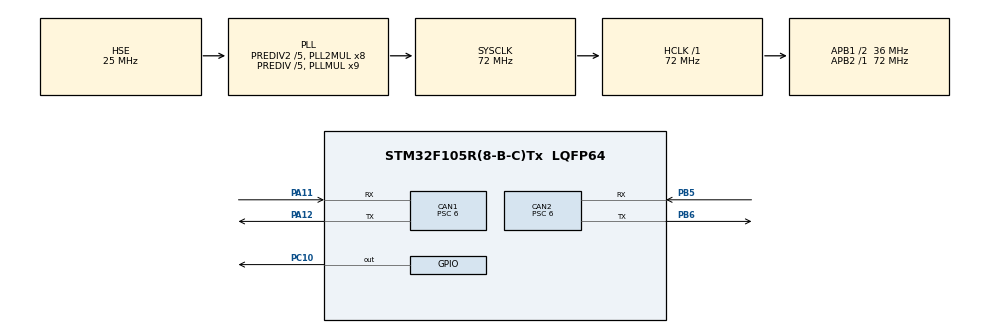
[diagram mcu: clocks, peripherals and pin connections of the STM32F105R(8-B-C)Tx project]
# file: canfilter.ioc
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CAN1.BS1=CAN_BS1_8TQ
CAN1.BS2=CAN_BS2_3TQ
CAN1.CalculateTimeBit=2000
CAN1.CalculateTimeQuantum=166.66666666666669
CAN1.Prescaler=6
CAN2.BS1=CAN_BS1_8TQ
CAN2.BS2=CAN_BS2_3TQ
CAN2.CalculateTimeBit=2000
CAN2.CalculateTimeQuantum=166.66666666666669
CAN2.Prescaler=6
Mcu.Family=STM32F1
Mcu.Name=STM32F105R(8-B-C)Tx
Mcu.Package=LQFP64
NVIC.CAN1_RX0_IRQn=true\:0\:0\:false\:false\:true\:true\:true
NVIC.CAN2_RX1_IRQn=true\:0\:0\:false\:false\:true\:true\:true
NVIC.PriorityGroup=NVIC_PRIORITYGROUP_0
PA11.Mode=Master
PA11.Signal=CAN1_RX
PA12.Mode=Master
PA12.Signal=CAN1_TX
PA13.Mode=Serial_Wire
PA13.Signal=SYS_JTMS-SWDIO
PA14.Mode=Serial_Wire
PA14.Signal=SYS_JTCK-SWCLK
PB5.Mode=Slave
PB5.Signal=CAN2_RX
PB6.Mode=Slave
PB6.Signal=CAN2_TX
PC10.PinState=GPIO_PIN_SET
PC10.Signal=GPIO_Output
PD0-OSC_IN.Mode=HSE-External-Oscillator
PD0-OSC_IN.Signal=RCC_OSC_IN
PD1-OSC_OUT.Mode=HSE-External-Oscillator
PD1-OSC_OUT.Signal=RCC_OSC_OUT
ProjectManager.HeapSize=0x200
ProjectManager.StackSize=0x400
ProjectManager.TargetToolchain=STM32CubeIDE
RCC.AHBFreq_Value=72000000
RCC.APB1CLKDivider=RCC_HCLK_DIV2
RCC.APB1Freq_Value=36000000
RCC.APB1TimFreq_Value=72000000
RCC.APB2Freq_Value=72000000
RCC.APB2TimFreq_Value=72000000
RCC.HCLKFreq_Value=72000000
RCC.HSEDivPLL=RCC_HSE_PREDIV_DIV5
RCC.HSE_VALUE=25000000
RCC.PLLMUL=RCC_PLL_MUL9
RCC.PLLSourceVirtual=RCC_PLLSOURCE_HSE
RCC.Prediv1Source=RCC_PREDIV1_SOURCE_PLL2
RCC.Prediv2=RCC_HSE_PREDIV2_DIV5
RCC.SYSCLKFreq_VALUE=72000000
RCC.SYSCLKSource=RCC_SYSCLKSOURCE_PLLCLK
RCC.USBFreq_Value=48000000
board=custom

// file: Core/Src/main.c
/* USER CODE BEGIN Header */
/**
 ******************************************************************************
 * @file           : main.c
 * @brief          : Main program body
 ******************************************************************************
 * @attention
 *
 * <h2><center>&copy; Copyright (c) 2020 STMicroelectronics.
 * All rights reserved.</center></h2>
 *
 * This software component is licensed by ST under BSD 3-Clause license,
 * the "License"; You may not use this file except in compliance with the
 * License. You may obtain a copy of the License at:
 *                        opensource.org/licenses/BSD-3-Clause
 *
 ******************************************************************************
 */
/* USER CODE END Header */

#include "main.h"

/* USER CODE BEGIN Includes */
#include <string.h>
#include "canfilter.h"
/* USER CODE END Includes */

CAN_HandleTypeDef hcan1;
CAN_HandleTypeDef hcan2;

void SystemClock_Config(void);
static void MX_GPIO_Init(void);
static void MX_CAN1_Init(void);
static void MX_CAN2_Init(void);

/* USER CODE BEGIN 0 */
void transferCan(CAN_HandleTypeDef *hcan) {
	CAN_HandleTypeDef *targetCan;
	uint32_t fifo;
	if (hcan->Instance == CAN2) {
		targetCan = &hcan1;
		fifo = CAN_RX_FIFO1;
	} else {
		targetCan = &hcan2;
		fifo = CAN_RX_FIFO0;
	}
	if (HAL_CAN_GetRxMessage(hcan, fifo, &RxHeader, RxData) != HAL_OK) {
		/* Reception Error */
		Error_Handler();
	}
	copyData();
	if (HAL_CAN_GetTxMailboxesFreeLevel(targetCan) != 0) {
		if (HAL_CAN_AddTxMessage(targetCan, &TxHeader, TxData, &TxMailbox)
				!= HAL_OK) {
			/* Transmission request Error */
			HAL_CAN_ResetError(targetCan);
			//Error_Handler();
		}
	}

}
void HAL_CAN_RxFifo0MsgPendingCallback(CAN_HandleTypeDef *hcan)

{
	transferCan(hcan);
}

void HAL_CAN_RxFifo1MsgPendingCallback(CAN_HandleTypeDef *hcan)

{
	transferCan(hcan);
}

/* USER CODE END 0 */

int main(void) {

	/* MCU Configuration--------------------------------------------------------*/

	/* Reset of all peripherals, Initializes the Flash interface and the Systick. */
	HAL_Init();

	/* Configure the system clock */
	SystemClock_Config();

	/* Initialize all configured peripherals */
	MX_GPIO_Init();
	MX_CAN1_Init();
	MX_CAN2_Init();
	/* USER CODE BEGIN 2 */

	sFilterConfig1.FilterBank = 0;
	sFilterConfig1.FilterMode = CAN_FILTERMODE_IDMASK;
	sFilterConfig1.FilterScale = CAN_FILTERSCALE_32BIT;
	sFilterConfig1.FilterIdHigh = 0x0000;
	sFilterConfig1.FilterIdLow = 0x0000;
	sFilterConfig1.FilterMaskIdHigh = 0x0000;
	sFilterConfig1.FilterMaskIdLow = 0x0000;
	sFilterConfig1.FilterFIFOAssignment = CAN_RX_FIFO0;
	sFilterConfig1.FilterActivation = ENABLE;
	sFilterConfig1.SlaveStartFilterBank = 14;
	HAL_CAN_ConfigFilter(&hcan1, &sFilterConfig1);

	sFilterConfig2.FilterBank = 14;
	sFilterConfig2.FilterMode = CAN_FILTERMODE_IDMASK;
	sFilterConfig2.FilterScale = CAN_FILTERSCALE_32BIT;
	sFilterConfig2.FilterIdHigh = 0x0000;
	sFilterConfig2.FilterIdLow = 0x0000;
	sFilterConfig2.FilterMaskIdHigh = 0x0000;
	sFilterConfig2.FilterMaskIdLow = 0x0000;
	sFilterConfig2.FilterFIFOAssignment = CAN_RX_FIFO1;
	sFilterConfig2.FilterActivation = ENABLE;
	sFilterConfig2.SlaveStartFilterBank = 14;
	HAL_CAN_ConfigFilter(&hcan2, &sFilterConfig2);

	HAL_CAN_ActivateNotification(&hcan1, CAN_IT_RX_FIFO0_MSG_PENDING);
	HAL_CAN_ActivateNotification(&hcan2, CAN_IT_RX_FIFO1_MSG_PENDING);

	//HAL_CAN_ActivateNotification(&hcan2, CAN_IT_RX_FIFO1_MSG_PENDING);
	//canloop(&hcan1, &hcan2);
	while (1) {
		HAL_Delay(100);
	}

	/* USER CODE END 2 */

	/* Infinite loop */
	/* USER CODE BEGIN WHILE */

	//while (1) {
	/* USER CODE END WHILE */

}

void SystemClock_Config(void) {
	RCC_OscInitTypeDef RCC_OscInitStruct = { 0 };
	RCC_ClkInitTypeDef RCC_ClkInitStruct = { 0 };

	/** Initializes the CPU, AHB and APB busses clocks
	 */
	RCC_OscInitStruct.OscillatorType = RCC_OSCILLATORTYPE_HSE;
	RCC_OscInitStruct.HSEState = RCC_HSE_ON;
	RCC_OscInitStruct.HSEPredivValue = RCC_HSE_PREDIV_DIV5;
	RCC_OscInitStruct.HSIState = RCC_HSI_ON;
	RCC_OscInitStruct.Prediv1Source = RCC_PREDIV1_SOURCE_PLL2;
	RCC_OscInitStruct.PLL.PLLState = RCC_PLL_ON;
	RCC_OscInitStruct.PLL.PLLSource = RCC_PLLSOURCE_HSE;
	RCC_OscInitStruct.PLL.PLLMUL = RCC_PLL_MUL9;
	RCC_OscInitStruct.PLL2.PLL2State = RCC_PLL2_ON;
	RCC_OscInitStruct.PLL2.PLL2MUL = RCC_PLL2_MUL8;
	RCC_OscInitStruct.PLL2.HSEPrediv2Value = RCC_HSE_PREDIV2_DIV5;
	if (HAL_RCC_OscConfig(&RCC_OscInitStruct) != HAL_OK) {
		Error_Handler();
	}
	/** Initializes the CPU, AHB and APB busses clocks
	 */
	RCC_ClkInitStruct.ClockType = RCC_CLOCKTYPE_HCLK | RCC_CLOCKTYPE_SYSCLK
			| RCC_CLOCKTYPE_PCLK1 | RCC_CLOCKTYPE_PCLK2;
	RCC_ClkInitStruct.SYSCLKSource = RCC_SYSCLKSOURCE_PLLCLK;
	RCC_ClkInitStruct.AHBCLKDivider = RCC_SYSCLK_DIV1;
	RCC_ClkInitStruct.APB1CLKDivider = RCC_HCLK_DIV2;
	RCC_ClkInitStruct.APB2CLKDivider = RCC_HCLK_DIV1;

	if (HAL_RCC_ClockConfig(&RCC_ClkInitStruct, FLASH_LATENCY_2) != HAL_OK) {
		Error_Handler();
	}
	/** Configure the Systick interrupt time
	 */
	__HAL_RCC_PLLI2S_ENABLE();
}

static void MX_CAN1_Init(void) {

	/* USER CODE BEGIN CAN1_Init 0 */
// Konfig taken from: https://www.elektronik-keller.de/index.php/projekte/stm32/29-stm32cubemx-stm32-can
	/* USER CODE END CAN1_Init 0 */

	hcan1.Instance = CAN1;
	hcan1.Init.Prescaler = 6;
	hcan1.Init.Mode = CAN_MODE_NORMAL;
	hcan1.Init.SyncJumpWidth = CAN_SJW_1TQ;
	hcan1.Init.TimeSeg1 = CAN_BS1_8TQ;
	hcan1.Init.TimeSeg2 = CAN_BS2_3TQ;
	hcan1.Init.TimeTriggeredMode = DISABLE;
	hcan1.Init.AutoBusOff = DISABLE;
	hcan1.Init.AutoWakeUp = DISABLE;
	hcan1.Init.AutoRetransmission = DISABLE;
	hcan1.Init.ReceiveFifoLocked = DISABLE;
	hcan1.Init.TransmitFifoPriority = DISABLE;
	if (HAL_CAN_Init(&hcan1) != HAL_OK) {
		Error_Handler();
	}
	/* USER CODE BEGIN CAN1_Init 2 */
	if (HAL_CAN_Start(&hcan1) != HAL_OK) {
		/* Start Error */
		Error_Handler();
	}
	/* USER CODE END CAN1_Init 2 */

}

static void MX_CAN2_Init(void) {

	hcan2.Instance = CAN2;
	hcan2.Init.Prescaler = 6;
	hcan2.Init.Mode = CAN_MODE_NORMAL;
	hcan2.Init.SyncJumpWidth = CAN_SJW_1TQ;
	hcan2.Init.TimeSeg1 = CAN_BS1_8TQ;
	hcan2.Init.TimeSeg2 = CAN_BS2_3TQ;
	hcan2.Init.TimeTriggeredMode = DISABLE;
	hcan2.Init.AutoBusOff = DISABLE;
	hcan2.Init.AutoWakeUp = DISABLE;
	hcan2.Init.AutoRetransmission = DISABLE;
	hcan2.Init.ReceiveFifoLocked = DISABLE;
	hcan2.Init.TransmitFifoPriority = DISABLE;
	if (HAL_CAN_Init(&hcan2) != HAL_OK) {
		Error_Handler();
	}
	/* USER CODE BEGIN CAN2_Init 2 */
	if (HAL_CAN_Start(&hcan2) != HAL_OK) {
		/* Start Error */
		Error_Handler();
	}
	/* USER CODE END CAN2_Init 2 */

}

static void MX_GPIO_Init(void) {
	GPIO_InitTypeDef GPIO_InitStruct = { 0 };

	/* GPIO Ports Clock Enable */
	__HAL_RCC_GPIOD_CLK_ENABLE();
	__HAL_RCC_GPIOA_CLK_ENABLE();
	__HAL_RCC_GPIOC_CLK_ENABLE();
	__HAL_RCC_GPIOB_CLK_ENABLE();

	/*Configure GPIO pin Output Level */
	HAL_GPIO_WritePin(GPIOC, GPIO_PIN_10, GPIO_PIN_SET);

	/*Configure GPIO pin : PC10 */
	GPIO_InitStruct.Pin = GPIO_PIN_10;
	GPIO_InitStruct.Mode = GPIO_MODE_OUTPUT_PP;
	GPIO_InitStruct.Pull = GPIO_NOPULL;
	GPIO_InitStruct.Speed = GPIO_SPEED_FREQ_LOW;
	HAL_GPIO_Init(GPIOC, &GPIO_InitStruct);

}

void Error_Handler(void) {
	/* USER CODE BEGIN Error_Handler_Debug */
	/* User can add his own implementation to report the HAL error return state */

	/* Infinite loop */
	/* USER CODE BEGIN WHILE */

	//while (1) {
	/* USER CODE END WHILE */

	//HAL_GPIO_TogglePin(GPIOC, GPIO_PIN_10);
	//HAL_Delay(300);
	/* USER CODE BEGIN 3 */
	//}
	/* USER CODE END Error_Handler_Debug */
}

/************************ (C) COPYRIGHT STMicroelectronics *****END OF FILE****/
